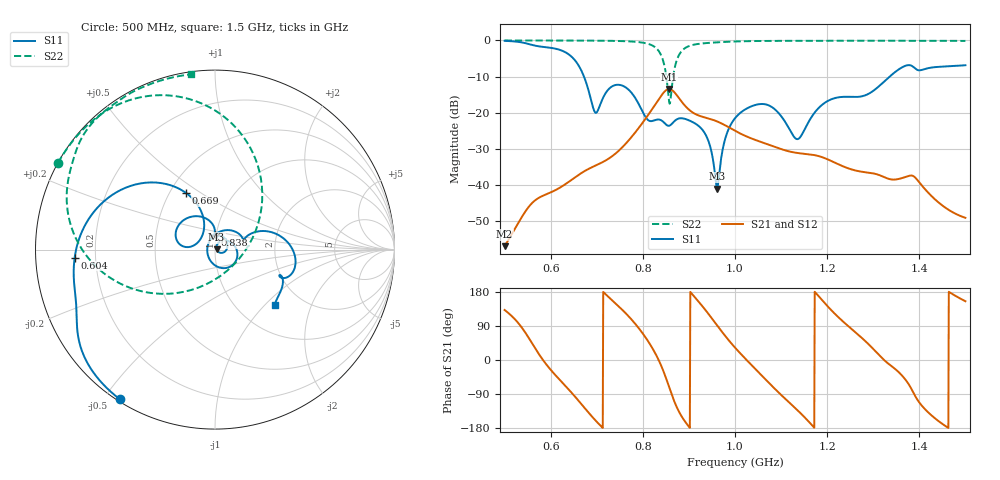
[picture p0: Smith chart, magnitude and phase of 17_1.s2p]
! TOUCHSTONE file generated by CST MICROWAVE STUDIO
! Date and time: Mon Oct 26 12:06:55 2020
! Project name: Scenario_1_Circular_Tissue_out_of_Line_v2.cst
! Parameters = {dy1=-69.2; L_HA=400; MT=2.54; Rad_Dielectric=30; Rad_Lower=7.3; Rad_Upper=30; a_HA=580; a_WG=246; b_HA=500; b_WG=121; c_HA=0; c_WG=187; d_feed=85; dx1=173; h_feed=15; h_lower=18; h_upper=40}
! Header version: 2018
! Port assignment regex: !\s*Touchstone port\s*([0-9]+)\s*=\s*(CST MWS port|CST DS port)\s*([0-9]+|Zmin|Zmax)\s*\(\"(.*)\"\)(\s*mode\s*([0-9]+))?.*
! Touchstone port assignment:
! Touchstone port 1 = CST MWS port 1 ("")
! Touchstone port 2 = CST MWS port 2 ("")
# GHz S DB R 50
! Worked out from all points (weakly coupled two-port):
!   1003 points, 500 MHz to 1.5 GHz, reference 50 ohm
!   highest |S21| = -13.44 dB at 857 MHz (marker M1); lowest = -56.9 dB at 500 MHz (marker M2)
!   lowest |S11| = -41.0 dB at 961 MHz (marker M3), VSWR 1.02, Z = 50.9 + j0.219 ohm
!   |S11| at or under -10 dB: 672.2 MHz to 1.336 GHz (663.4 MHz wide, 66.1 % of centre)
!   |S22| runs from -17.5 to 0.0 dB; largest |S21 - S12| = 2.3e-05
!   S11 on the Smith chart (normalised r, x): 500 MHz: 0.01, -0.55; 604 MHz: 0.12, -0.03; 669 MHz: 0.60, +0.44; 838 MHz: 0.98, +0.16; 1.5 GHz: 1.47, -1.14
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0.5  -0.11 -122.5  -56.89 132.0  -56.89 132.0  -0.01 151.1
0.604  -2.12 -176.7  -41.78 -31.4  -41.78 -31.4  -0.02 143.8
0.667  -8.45 119.1  -36.64 -116.9  -36.64 -116.9  -0.04 138.4
0.669  -9.01 117.1  -36.48 -119.8  -36.48 -119.8  -0.04 138.2
0.697  -19.97 141.7  -34.61 -159.2  -34.61 -159.2  -0.06 135.2
0.749  -12.28 142.6  -30.34 139.9  -30.34 139.9  -0.16 127.7
0.8  -19.84 90.3  -22.67 69.7  -22.67 69.7  -0.62 113.1
0.834  -21.86 94.7  -16.35 0.7  -16.35 0.7  -2.84 83.7
0.838  -21.97 90.9  -15.61 -9.9  -15.61 -9.9  -3.66 76.7
0.857  -23.59 83.9  -13.44 -71.4  -13.44 -71.4  -16.90 -22.0
0.869  -22.26 78.8  -14.40 -111.5  -14.40 -111.5  -7.66 -143.8
0.889  -21.61 48.4  -17.69 -158.0  -17.69 -158.0  -2.36 177.4
0.936  -26.00 -18.5  -21.35 131.7  -21.35 131.7  -0.75 151.7
0.961  -40.97 13.9  -22.38 91.6  -22.38 91.6  -0.53 146.4
0.979  -27.08 62.2  -23.49 63.1  -23.49 63.1  -0.40 143.5
1  -21.52 36.1  -24.98 32.8  -24.98 32.8  -0.29 140.5
1.07  -17.80 -44.9  -28.68 -55.9  -28.68 -55.9  -0.14 132.4
1.135  -27.30 177.7  -31.11 -131.9  -31.11 -131.9  -0.11 126.7
1.167  -21.00 85.9  -31.59 -171.9  -31.59 -171.9  -0.11 124.2
1.334  -10.19 19.2  -38.29 -10.8  -38.29 -10.8  -0.09 111.5
1.387  -7.31 -20.9  -37.51 -85.9  -37.51 -85.9  -0.09 107.4
1.5  -6.85 -42.9  -49.04 155.1  -49.08 155.4  -0.13 97.8
